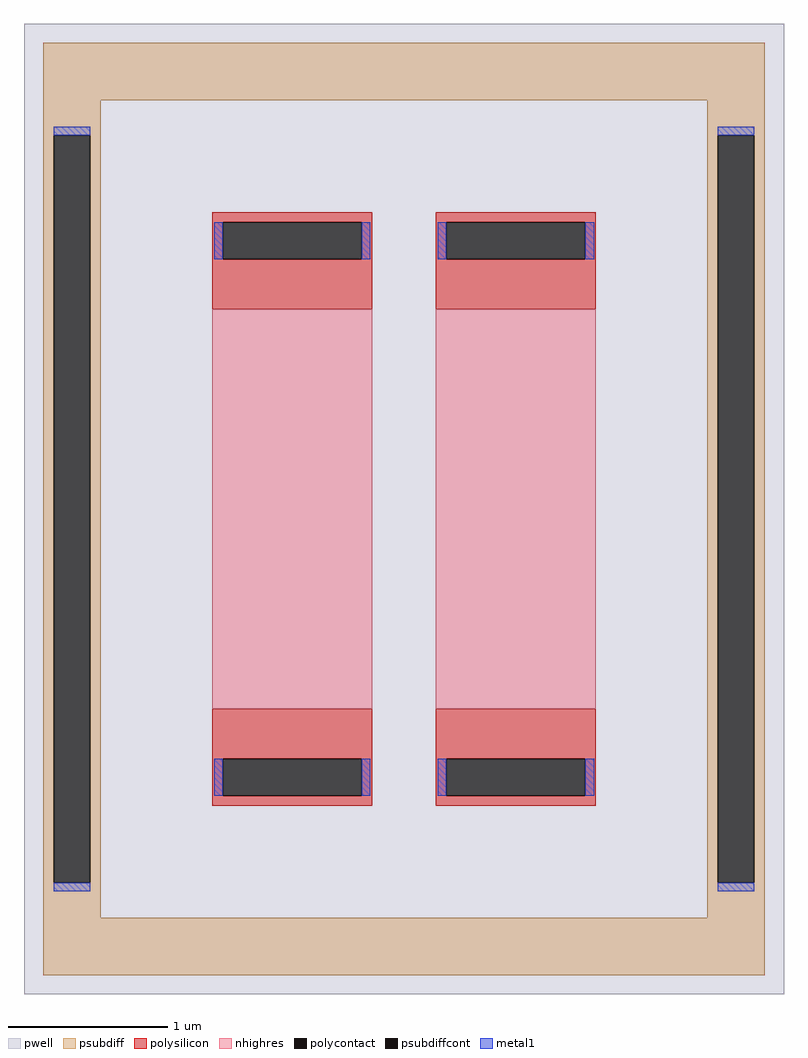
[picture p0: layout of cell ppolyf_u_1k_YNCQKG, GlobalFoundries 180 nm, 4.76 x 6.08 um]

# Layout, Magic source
magic
tech gf180mcuD
magscale 1 10
<< pwell >>
rect -476 -608 476 608
<< psubdiff >>
rect -452 512 452 584
rect -452 468 -380 512
rect -452 -468 -439 468
rect -393 -468 -380 468
rect 380 468 452 512
rect -452 -512 -380 -468
rect 380 -468 393 468
rect 439 -468 452 468
rect 380 -512 452 -468
rect -452 -584 452 -512
<< psubdiffcont >>
rect -439 -468 -393 468
rect 393 -468 439 468
<< polysilicon >>
rect -240 359 -40 372
rect -240 313 -227 359
rect -53 313 -40 359
rect -240 250 -40 313
rect -240 -313 -40 -250
rect -240 -359 -227 -313
rect -53 -359 -40 -313
rect -240 -372 -40 -359
rect 40 359 240 372
rect 40 313 53 359
rect 227 313 240 359
rect 40 250 240 313
rect 40 -313 240 -250
rect 40 -359 53 -313
rect 227 -359 240 -313
rect 40 -372 240 -359
<< polycontact >>
rect -227 313 -53 359
rect -227 -359 -53 -313
rect 53 313 227 359
rect 53 -359 227 -313
<< nhighres >>
rect -240 -250 -40 250
rect 40 -250 240 250
<< metal1 >>
rect -439 468 -393 479
rect 393 468 439 479
rect -238 313 -227 359
rect -53 313 -42 359
rect 42 313 53 359
rect 227 313 238 359
rect -238 -359 -227 -313
rect -53 -359 -42 -313
rect 42 -359 53 -313
rect 227 -359 238 -313
rect -439 -479 -393 -468
rect 393 -479 439 -468
<< properties >>
string FIXED_BBOX -416 -548 416 548
string gencell ppolyf_u_1k
string library gf180mcu
string parameters w 1.0 l 2.5 m 1 nx 2 wmin 1.000 lmin 1.000 class resistor rho 1000 val 2.5k dummy 0 dw 0.0 term 0.0 sterm 0.0 caplen 0.4 snake 0 glc 1 grc 1 gtc 0 gbc 0 roverlap 1 endcov 100 full_metal 0 compatible {ppolyf_u_1k ppolyf_u_1k_6p0}
<< end >>
